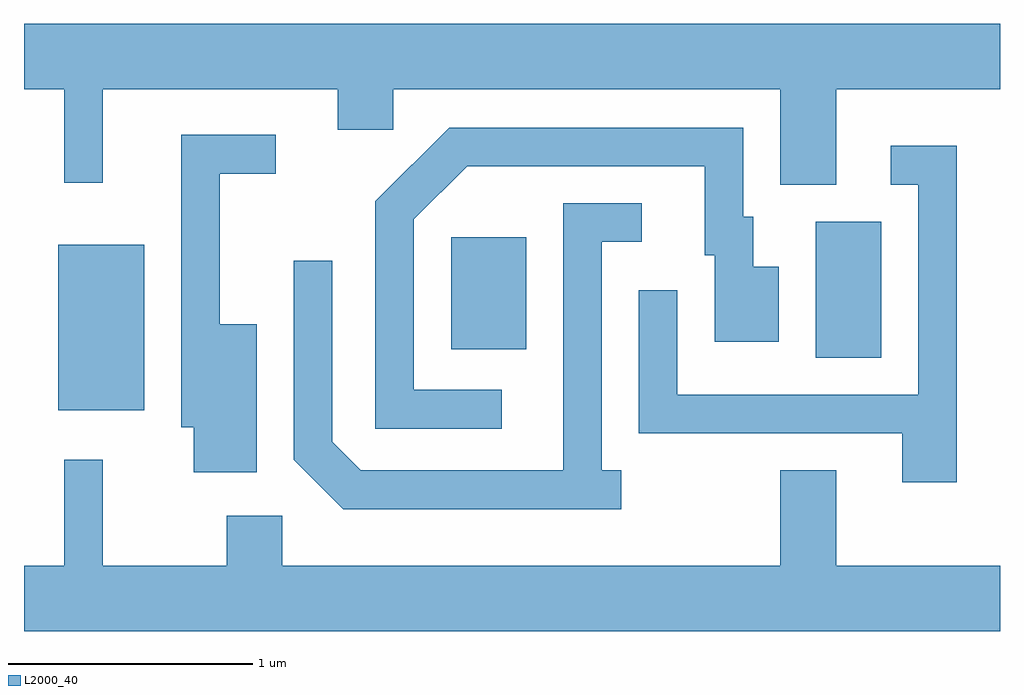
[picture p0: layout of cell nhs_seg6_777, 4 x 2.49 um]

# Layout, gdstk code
import gdstk
lib = gdstk.Library(unit=1e-6, precision=1e-09)
def R(c, l, rs):  # rectangles x0, y0, x1, y1
    for r in rs: c.add(gdstk.rectangle(r[:2], r[2:], *l))
def P(c, l, *ps):  # polygons
    for p in ps: c.add(gdstk.Polygon(p, *l))
L2000_40 = (2000, 40)

nhs_seg6_777 = lib.new_cell('nhs_seg6_777')
R(nhs_seg6_777, L2000_40, [(207.751,1613.101,208.104,1613.779), (210.856,1613.316,211.124,1613.874), (209.361,1613.351,209.669,1613.809)])
P(nhs_seg6_777, L2000_40, [(210.939,1614.416),(211.611,1614.416),(211.611,1614.684),(207.611,1614.684),(207.611,1614.416),(207.776,1614.416),(207.776,1614.033),(207.934,1614.033),(207.934,1614.416),(208.896,1614.416),(208.896,1614.251),(209.124,1614.251),(209.124,1614.416),(210.711,1614.416),(210.711,1614.026),(210.939,1614.026)],
  [(209.568,1613.184),(209.209,1613.184),(209.209,1613.884),(209.427,1614.101),(210.401,1614.101),(210.401,1613.736),(210.441,1613.736),(210.441,1613.381),(210.704,1613.381),(210.704,1613.689),(210.599,1613.689),(210.599,1613.894),(210.559,1613.894),(210.559,1614.259),(209.354,1614.259),(209.051,1613.957),(209.051,1613.026),(209.568,1613.026)],
  [(208.564,1613.454),(208.414,1613.454),(208.414,1614.071),(208.643,1614.071),(208.643,1614.229),(208.256,1614.229),(208.256,1613.031),(208.306,1613.031),(208.306,1612.846),(208.564,1612.846)],
  [(211.434,1614.184),(211.163,1614.184),(211.163,1614.026),(211.276,1614.026),(211.276,1613.164),(210.289,1613.164),(210.289,1613.593),(210.131,1613.593),(210.131,1613.006),(211.211,1613.006),(211.211,1612.806),(211.434,1612.806)],
  [(210.058,1612.854),(209.979,1612.854),(209.979,1613.791),(210.143,1613.791),(210.143,1613.949),(209.821,1613.949),(209.821,1612.854),(208.992,1612.854),(208.874,1612.972),(208.874,1613.713),(208.716,1613.713),(208.716,1612.899),(208.919,1612.696),(210.058,1612.696)],
  [(211.611,1612.464),(210.939,1612.464),(210.939,1612.854),(210.711,1612.854),(210.711,1612.464),(208.669,1612.464),(208.669,1612.669),(208.441,1612.669),(208.441,1612.464),(207.934,1612.464),(207.934,1612.898),(207.776,1612.898),(207.776,1612.464),(207.611,1612.464),(207.611,1612.196),(211.611,1612.196)])

lib.write_gds('nhs_seg6_777.gds')
